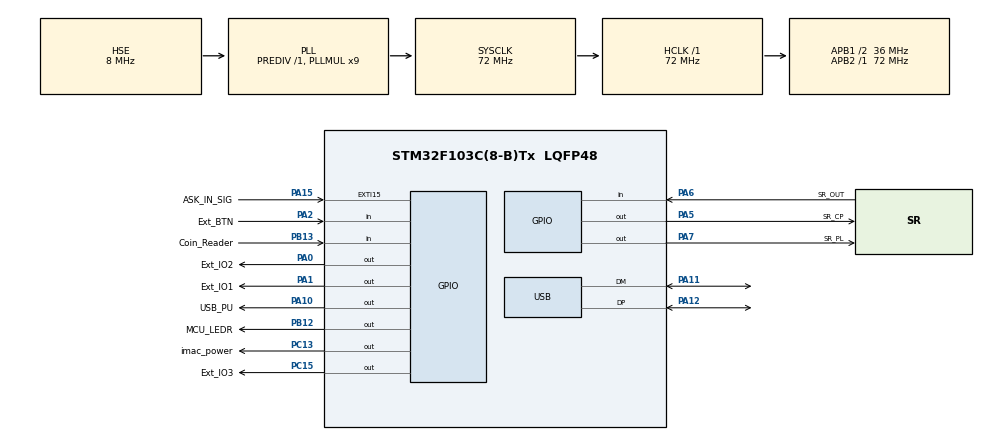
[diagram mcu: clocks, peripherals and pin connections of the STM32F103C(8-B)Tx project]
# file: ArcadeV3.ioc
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Mcu.Family=STM32F1
Mcu.Name=STM32F103C(8-B)Tx
Mcu.Package=LQFP48
NVIC.EXTI15_10_IRQn=true\:0\:0\:false\:false\:true\:true\:true\:true
NVIC.PriorityGroup=NVIC_PRIORITYGROUP_4
NVIC.USB_LP_CAN1_RX0_IRQn=true\:0\:0\:false\:false\:true\:false\:true\:true
PA0-WKUP.GPIO_Label=Ext_IO2
PA0-WKUP.Signal=GPIO_Output
PA1.GPIO_Label=Ext_IO1
PA1.Signal=GPIO_Output
PA10.GPIO_Label=USB_PU
PA10.Signal=GPIO_Output
PA11.Mode=Device
PA11.Signal=USB_DM
PA12.Mode=Device
PA12.Signal=USB_DP
PA13.Mode=Serial_Wire
PA13.Signal=SYS_JTMS-SWDIO
PA14.Mode=Serial_Wire
PA14.Signal=SYS_JTCK-SWCLK
PA15.GPIO_Label=ASK_IN_SIG
PA15.GPIO_ModeDefaultEXTI=GPIO_MODE_IT_RISING_FALLING
PA15.Signal=GPXTI15
PA2.GPIO_Label=Ext_BTN
PA2.GPIO_PuPd=GPIO_PULLUP
PA2.Signal=GPIO_Input
PA5.GPIO_Label=SR_CP
PA5.Signal=GPIO_Output
PA6.GPIO_Label=SR_OUT
PA6.GPIO_PuPd=GPIO_PULLUP
PA6.Signal=GPIO_Input
PA7.GPIO_Label=SR_PL
PA7.PinState=GPIO_PIN_SET
PA7.Signal=GPIO_Output
PB12.GPIO_Label=MCU_LEDR
PB12.Signal=GPIO_Output
PB13.GPIO_Label=Coin_Reader
PB13.Signal=GPIO_Input
PC13-TAMPER-RTC.GPIO_Label=imac_power
PC13-TAMPER-RTC.Signal=GPIO_Output
PC15-OSC32_OUT.GPIO_Label=Ext_IO3
PC15-OSC32_OUT.Signal=GPIO_Output
PD0-OSC_IN.Mode=HSE-External-Oscillator
PD0-OSC_IN.Signal=RCC_OSC_IN
PD1-OSC_OUT.Mode=HSE-External-Oscillator
PD1-OSC_OUT.Signal=RCC_OSC_OUT
ProjectManager.HeapSize=0x200
ProjectManager.StackSize=0x400
ProjectManager.TargetToolchain=STM32CubeIDE
RCC.AHBFreq_Value=72000000
RCC.APB1CLKDivider=RCC_HCLK_DIV2
RCC.APB1Freq_Value=36000000
RCC.APB1TimFreq_Value=72000000
RCC.APB2Freq_Value=72000000
RCC.APB2TimFreq_Value=72000000
RCC.HCLKFreq_Value=72000000
RCC.PLLMUL=RCC_PLL_MUL9
RCC.SYSCLKFreq_VALUE=72000000
RCC.SYSCLKSource=RCC_SYSCLKSOURCE_PLLCLK
RCC.USBFreq_Value=48000000
RCC.USBPrescaler=RCC_USBCLKSOURCE_PLL_DIV1_5
TIM3.Prescaler=720-1
TIM4.Prescaler=28800-1
USB_DEVICE.CLASS_NAME_FS=CDC
USB_DEVICE.VirtualMode=Cdc
USB_DEVICE.VirtualModeFS=Cdc_FS
VP_TIM3_VS_ClockSourceINT.Mode=Internal
VP_TIM4_VS_ClockSourceINT.Mode=Internal
VP_USB_DEVICE_VS_USB_DEVICE_CDC_FS.Mode=CDC_FS
board=custom

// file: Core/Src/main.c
/* USER CODE BEGIN Header */
/**
 ******************************************************************************
 * @file           : main.c
 * @brief          : Main program body
 ******************************************************************************
 * @attention
 *
 * Copyright (c) 2024 STMicroelectronics.
 * All rights reserved.
 *
 * This software is licensed under terms that can be found in the LICENSE file
 * in the root directory of this software component.
 * If no LICENSE file comes with this software, it is provided AS-IS.
 *
 ******************************************************************************
 */
/* USER CODE END Header */
#include "main.h"
#include "tim.h"
#include "usb_device.h"
#include "gpio.h"

/* USER CODE BEGIN Includes */
#include <stdbool.h>
#include "usbd_cdc_if.h"
#include "ask.h"
#include <stdio.h>
#include "FLASH_PAGE.h"
/* USER CODE END Includes */

void SystemClock_Config(void);
/* USER CODE BEGIN PFP */
uint8_t data_received;
uint8_t data_from_system[16];
uint8_t data_from_system_len;
bool data ;
uint8_t zero='0', one='1', enter=13;
uint8_t all_btn_data[33];
uint8_t i = 32;
uint8_t remote_pressed = true;
ask_t rf433;
uint32_t ask_code_in_flash;
uint8_t code[3];

typedef enum{
	idle,
	learning,
	learned
}learning_state_t;
learning_state_t ask_learning_state = idle;
void dataTransfer();

/* USER CODE END PFP */

/* USER CODE BEGIN 0 */

void delay_us(void)
{
	int i = 0;
	for(i = 0; i < 2000; i++);
}

/* USER CODE BEGIN 0 */
void dataTransfer()
{
	memset(all_btn_data, 0, sizeof(all_btn_data));

	// Latch at first
	HAL_GPIO_WritePin(SR_PL_GPIO_Port, SR_PL_Pin, 0);
	delay_us();
	HAL_GPIO_WritePin(SR_PL_GPIO_Port, SR_PL_Pin, 1);
	delay_us();

	for(i = 0; i < 32; i++)
	{
		// Read Pin and transmit to USB
		if(HAL_GPIO_ReadPin(SR_OUT_GPIO_Port,SR_OUT_Pin))
			all_btn_data[i] = '0';
		else
			all_btn_data[i] = '1';

		// Clock
		HAL_GPIO_WritePin(SR_CP_GPIO_Port,SR_CP_Pin, 1);
		delay_us();
		HAL_GPIO_WritePin(SR_CP_GPIO_Port,SR_CP_Pin, 0);
		delay_us();
	}

	if(remote_pressed)
		all_btn_data[32] = '1';
	else
		all_btn_data[32] = '0';

	CDC_Transmit_FS(all_btn_data, 33);

//	CDC_Transmit_FS(&enter,1);
}

void blinking()
{
	for(int i=0;i<=5;i++)
	{
		HAL_GPIO_WritePin(MCU_LEDR_GPIO_Port, MCU_LEDR_Pin, 1);
		HAL_Delay(75);
		HAL_GPIO_WritePin(MCU_LEDR_GPIO_Port, MCU_LEDR_Pin, 0);
		HAL_Delay(75);
	}
}

/* USER CODE END 0 */

int main(void)
{

  /* MCU Configuration--------------------------------------------------------*/

  /* Reset of all peripherals, Initializes the Flash interface and the Systick. */
  HAL_Init();

  /* Configure the system clock */
  SystemClock_Config();

  /* Initialize all configured peripherals */
  MX_GPIO_Init();
  MX_USB_DEVICE_Init();
  MX_TIM3_Init();
  MX_TIM4_Init();
  /* USER CODE BEGIN 2 */

  // Pull up USB Power
  HAL_GPIO_WritePin(USB_PU_GPIO_Port, USB_PU_Pin, 1);

  // iMac power
  HAL_GPIO_WritePin(imac_power_GPIO_Port, imac_power_Pin, 1);
  HAL_Delay(4000);
  HAL_GPIO_WritePin(imac_power_GPIO_Port, imac_power_Pin, 0);
  HAL_Delay(1000);
  HAL_GPIO_WritePin(imac_power_GPIO_Port, imac_power_Pin, 1);

	// Read ASK code in Flash
	Flash_Read_Data(0x0801FC00, &ask_code_in_flash, 1);

	ask_init(&rf433,ASK_IN_SIG_GPIO_Port,ASK_IN_SIG_Pin);

  /* USER CODE END 2 */

  /* Infinite loop */
  /* USER CODE BEGIN WHILE */
	while (1)
	{

		if(data_received)
		{
			data_received=0;
			dataTransfer();
		}
		HAL_Delay(5);

		// Receive the ask code
		ask_loop(&rf433);
		if (ask_available(&rf433))
		{
			ask_read(&rf433, code, NULL, NULL);
			if(ask_code_in_flash == (code[0] | (code[1] << 8) | (code[2] << 16)))
			{
				HAL_GPIO_WritePin(MCU_LEDR_GPIO_Port, MCU_LEDR_Pin, 1);
				remote_pressed = true;
				HAL_Delay(10);
			}
			else
			{
				remote_pressed = false;
				HAL_GPIO_WritePin(MCU_LEDR_GPIO_Port, MCU_LEDR_Pin, 0);
			}

		}
		else
		{
			remote_pressed = false;
			HAL_GPIO_WritePin(MCU_LEDR_GPIO_Port, MCU_LEDR_Pin, 0);
		}

		// Learn Procedure ...
		if(ask_learning_state == idle)
		{
			if(!HAL_GPIO_ReadPin(Ext_BTN_GPIO_Port, Ext_BTN_Pin))
			{
				HAL_TIM_Base_Start(&htim4);
				htim4.Instance->CNT=0;
				ask_learning_state = learning;
			}
		}
		else if(ask_learning_state == learning)
		{
			// wait for 5 seconds
			if(htim4.Instance->CNT>12500) //12500 = 5 seconds
			{
				// ask code is valid, so save it ...
				ask_code_in_flash = code[0] | (code[1] << 8) | (code[2] << 16);
				blinking();
				Flash_Write_Data(0x0801FC00, &ask_code_in_flash, 1);
				HAL_TIM_Base_Stop(&htim4);

				ask_learning_state = learned;
			}

			if(HAL_GPIO_ReadPin(Ext_BTN_GPIO_Port, Ext_BTN_Pin))	// BTN is released, learning procedure failed
			{
				ask_learning_state = idle;
				HAL_TIM_Base_Stop(&htim4);
			}
		}
		else // learned
		{
			// wait for BTN to release
			if(HAL_GPIO_ReadPin(Ext_BTN_GPIO_Port, Ext_BTN_Pin))
				ask_learning_state = idle;
		}

    /* USER CODE END WHILE */

	}
}

void SystemClock_Config(void)
{
  RCC_OscInitTypeDef RCC_OscInitStruct = {0};
  RCC_ClkInitTypeDef RCC_ClkInitStruct = {0};
  RCC_PeriphCLKInitTypeDef PeriphClkInit = {0};

  /** Initializes the RCC Oscillators according to the specified parameters
  * in the RCC_OscInitTypeDef structure.
  */
  RCC_OscInitStruct.OscillatorType = RCC_OSCILLATORTYPE_HSE;
  RCC_OscInitStruct.HSEState = RCC_HSE_ON;
  RCC_OscInitStruct.HSEPredivValue = RCC_HSE_PREDIV_DIV1;
  RCC_OscInitStruct.HSIState = RCC_HSI_ON;
  RCC_OscInitStruct.PLL.PLLState = RCC_PLL_ON;
  RCC_OscInitStruct.PLL.PLLSource = RCC_PLLSOURCE_HSE;
  RCC_OscInitStruct.PLL.PLLMUL = RCC_PLL_MUL9;
  if (HAL_RCC_OscConfig(&RCC_OscInitStruct) != HAL_OK)
  {
    Error_Handler();
  }

  /** Initializes the CPU, AHB and APB buses clocks
  */
  RCC_ClkInitStruct.ClockType = RCC_CLOCKTYPE_HCLK|RCC_CLOCKTYPE_SYSCLK
                              |RCC_CLOCKTYPE_PCLK1|RCC_CLOCKTYPE_PCLK2;
  RCC_ClkInitStruct.SYSCLKSource = RCC_SYSCLKSOURCE_PLLCLK;
  RCC_ClkInitStruct.AHBCLKDivider = RCC_SYSCLK_DIV1;
  RCC_ClkInitStruct.APB1CLKDivider = RCC_HCLK_DIV2;
  RCC_ClkInitStruct.APB2CLKDivider = RCC_HCLK_DIV1;

  if (HAL_RCC_ClockConfig(&RCC_ClkInitStruct, FLASH_LATENCY_2) != HAL_OK)
  {
    Error_Handler();
  }
  PeriphClkInit.PeriphClockSelection = RCC_PERIPHCLK_USB;
  PeriphClkInit.UsbClockSelection = RCC_USBCLKSOURCE_PLL_DIV1_5;
  if (HAL_RCCEx_PeriphCLKConfig(&PeriphClkInit) != HAL_OK)
  {
    Error_Handler();
  }
}

void Error_Handler(void)
{
	__disable_irq();
	while (1)
	{
	}
}
